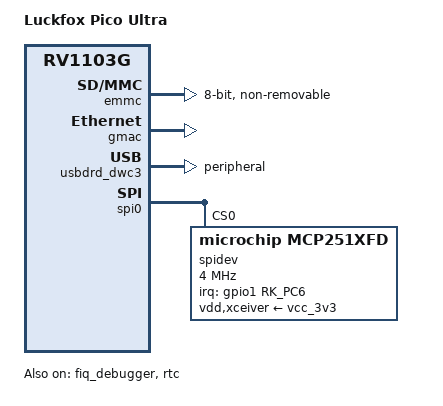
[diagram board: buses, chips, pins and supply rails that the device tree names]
// SPDX-License-Identifier: (GPL-2.0+ OR MIT)
/*
* Copyright (c) 2022 Rockchip Electronics Co., Ltd.
*/

/dts-v1/;
#include "rv1106.dtsi"
#include "rv1106-luckfox-pico-ultra-ipc.dtsi"
#include <dt-bindings/input/input.h>
#include <dt-bindings/display/media-bus-format.h>

/ {
        model = "Luckfox Pico Ultra";
        compatible = "rockchip,rv1103g-38x38-ipc-v10", "rockchip,rv1106g3";
        clk_mcp251xfd: clk_mcp251xfd {
                compatible = "fixed-clock";
                #clock-cells = <0>;
                clock-frequency = <40000000>;
        };
};

/**********CRU**********/
//&cru {
//      assigned-clocks =
//              <&cru PLL_GPLL>, <&cru PLL_CPLL>,
//              <&cru ARMCLK>,
//              <&cru ACLK_PERI_ROOT>, <&cru HCLK_PERI_ROOT>,
//              <&cru PCLK_PERI_ROOT>, <&cru ACLK_BUS_ROOT>,
//              <&cru PCLK_TOP_ROOT>, <&cru PCLK_PMU_ROOT>,
//              <&cru HCLK_PMU_ROOT>, <&cru CLK_500M_SRC>;
//      assigned-clock-rates =
//              <1188000000>, <700000000>,
//              <1104000000>,
//              <400000000>, <200000000>,
//              <100000000>, <300000000>,
//              <100000000>, <100000000>,
//              <200000000>, <700000000>;
//};

/**********NPU**********/
//&npu {
//      assigned-clock-rates = <700000000>;
//};

/**********EMMC**********/
&emmc {
        bus-width = <8>;
        cap-mmc-highspeed;
        non-removable;
        // mmc-hs200-1_8v;
        rockchip,default-sample-phase = <90>;
        no-sdio;
        no-sd;
        memory-region-ecsd = <&mmc_ecsd>;
        post-power-on-delay-ms = <0>;
        status = "okay";
};

&fiq_debugger {
        rockchip,irq-mode-enable = <1>;
        status = "okay";
};

/**********ETH**********/
&gmac {
        status = "okay";
};

/**********USB**********/
&usbdrd_dwc3 {
        status = "okay";
        dr_mode = "peripheral";
};

/**********RTC**********/
&rtc {
        status = "okay";
};

/**********SPI**********/
&spi0 {
        status = "okay";
        pinctrl-0 = <&spi0m0_clk &spi0m0_miso &spi0m0_mosi &spi0m0_cs0>;
        #address-cells = <1>;
        #size-cells = <0>;
        spidev@0 {
                status = "okay";
                compatible = "microchip,mcp251xfd";
                reg = <0>;
                spi-max-frequency = <4000000>;
                interrupts = <RK_PC6 IRQ_TYPE_LEVEL_LOW>;
                interrupt-parent = <&gpio1>;
                clocks = <&clk_mcp251xfd>;
                clock-names = "mcp251xfd";
                vdd-supply = <&vcc_3v3>;
                xceiver-supply = <&vcc_3v3>;
        };
};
